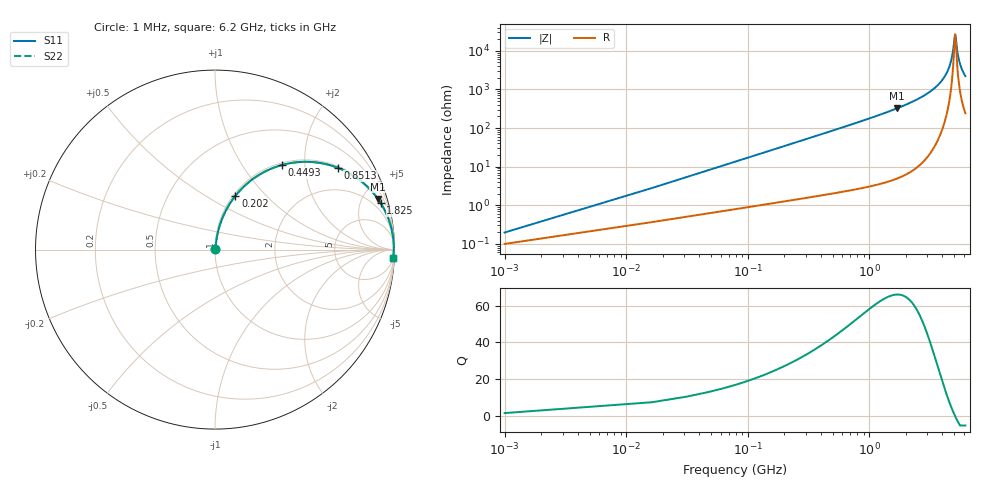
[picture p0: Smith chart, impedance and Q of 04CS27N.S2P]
! Coilcraft 0402CS-27N Chip Inductor
! 29 May 2002
# MHZ S MA R 50
!Freq  MagS11  AngS11  MagS21  AngS21  MagS12  AngS12  MagS22  AngS22
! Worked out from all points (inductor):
!   402 points, 1 MHz to 6.2 GHz, reference 50 ohm
!   read as one part in series: L = 27 nH near 31.92 MHz
!   highest Q = 65.9 at 1.686 GHz (marker M1), where L = 30.3 nH
!   self-resonance near 5.103 GHz
!   S11 on the Smith chart (normalised r, x): 1 MHz: 1.00, +0.00; 202 MHz: 1.03, +0.69; 449.3 MHz: 1.04, +1.54; 851.3 MHz: 1.05, +2.97; 1.825 GHz: 1.11, +7.10; 6.2 GHz: 6, -44
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1  0.001965 59.5  0.999 -0.1  0.999 -0.1  0.001965 59.5
47.38  0.07987 81.1  0.9907 -4.6  0.9907 -4.6  0.07987 81.1
62.84  0.1055 80.2  0.9875 -6.0  0.9875 -6.0  0.1055 80.2
124.68  0.2053 75.5  0.9691 -11.8  0.9691 -11.8  0.2053 75.5
201.98  0.3212 69.2  0.9353 -18.7  0.9353 -18.7  0.3212 69.2
449.34  0.6022 51.6  0.7836 -37.0  0.7836 -37.0  0.6022 51.6
851.3  0.8226 33.6  0.5537 -55.3  0.5537 -55.3  0.8226 33.6
1036.82  0.8719 28.4  0.4752 -60.7  0.4752 -60.7  0.8719 28.4
1686.14  0.9507 17.2  0.2961 -71.9  0.2961 -71.9  0.9507 17.2
1825.28  0.9588 15.7  0.27 -73.5  0.27 -73.5  0.9588 15.7
2072.64  0.9695 13.3  0.2303 -75.8  0.2303 -75.8  0.9695 13.3
3108.46  0.9902 6.8  0.1182 -81.8  0.1182 -81.8  0.9902 6.8
4144.28  0.9958 2.8  0.04842 -83.6  0.04842 -83.6  0.9958 2.8
4484.4  0.9963 1.7  0.03012 -82.1  0.03012 -82.1  0.9963 1.7
4731.76  0.9964 1.0  0.01787 -77.9  0.01787 -77.9  0.9964 1.0
4901.82  0.9964 0.5  0.01006 -68.6  0.01006 -68.6  0.9964 0.5
5087.34  0.9963 0.0  0.003833 -12.9  0.003833 -12.9  0.9963 0.0
5180.1  0.9962 -0.2  0.005043 40.6  0.005043 40.6  0.9962 -0.2
5334.7  0.996 -0.6  0.01081 67.9  0.01081 67.9  0.996 -0.6
5535.68  0.9957 -1.1  0.01902 76.3  0.01902 76.3  0.9957 -1.1
5829.42  0.9951 -1.7  0.03081 79.9  0.03081 79.9  0.9951 -1.7
6200  0.9941 -2.6  0.04504 81.2  0.04504 81.2  0.9941 -2.6
